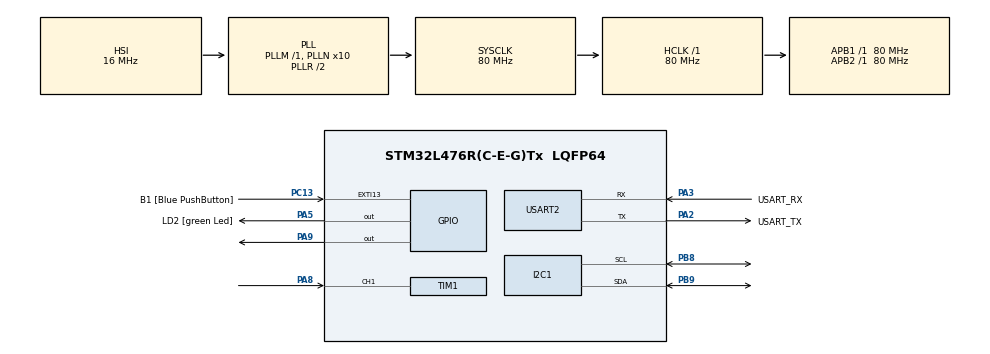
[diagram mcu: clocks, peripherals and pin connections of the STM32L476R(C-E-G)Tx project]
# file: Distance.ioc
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I2C1.Timing=0x10909CEC
Mcu.Family=STM32L4
Mcu.Name=STM32L476R(C-E-G)Tx
Mcu.Package=LQFP64
NVIC.PriorityGroup=NVIC_PRIORITYGROUP_4
NVIC.TIM1_CC_IRQn=true\:0\:0\:false\:false\:true\:true\:true\:true
PA13\ (JTMS-SWDIO).GPIO_Label=TMS
PA13\ (JTMS-SWDIO).Mode=Serial_Wire
PA13\ (JTMS-SWDIO).Signal=SYS_JTMS-SWDIO
PA14\ (JTCK-SWCLK).GPIO_Label=TCK
PA14\ (JTCK-SWCLK).Mode=Serial_Wire
PA14\ (JTCK-SWCLK).Signal=SYS_JTCK-SWCLK
PA2.GPIO_Label=USART_TX
PA2.GPIO_Mode=GPIO_MODE_AF_PP
PA2.GPIO_PuPd=GPIO_NOPULL
PA2.GPIO_Speed=GPIO_SPEED_FREQ_VERY_HIGH
PA2.Mode=Asynchronous
PA2.Signal=USART2_TX
PA3.GPIO_Label=USART_RX
PA3.GPIO_Mode=GPIO_MODE_AF_PP
PA3.GPIO_PuPd=GPIO_NOPULL
PA3.GPIO_Speed=GPIO_SPEED_FREQ_VERY_HIGH
PA3.Mode=Asynchronous
PA3.Signal=USART2_RX
PA5.GPIO_Label=LD2 [green Led]
PA5.GPIO_ModeDefaultOutputPP=GPIO_MODE_OUTPUT_PP
PA5.GPIO_PuPd=GPIO_NOPULL
PA5.GPIO_Speed=GPIO_SPEED_FREQ_LOW
PA5.Signal=GPIO_Output
PA8.Signal=S_TIM1_CH1
PA9.Signal=GPIO_Output
PB3\ (JTDO-TRACESWO).GPIO_Label=SWO
PB3\ (JTDO-TRACESWO).Signal=SYS_JTDO-SWO
PB8.GPIO_Pu=GPIO_PULLUP
PB8.Mode=I2C
PB8.Signal=I2C1_SCL
PB9.GPIO_Pu=GPIO_PULLUP
PB9.Mode=I2C
PB9.Signal=I2C1_SDA
PC13.GPIO_Label=B1 [Blue PushButton]
PC13.GPIO_ModeDefaultEXTI=GPIO_MODE_IT_FALLING
PC13.GPIO_PuPd=GPIO_NOPULL
PC13.Signal=GPXTI13
PC14-OSC32_IN\ (PC14).Mode=LSE-External-Oscillator
PC14-OSC32_IN\ (PC14).Signal=RCC_OSC32_IN
PC15-OSC32_OUT\ (PC15).Mode=LSE-External-Oscillator
PC15-OSC32_OUT\ (PC15).Signal=RCC_OSC32_OUT
PH0-OSC_IN\ (PH0).Signal=RCC_OSC_IN
PH1-OSC_OUT\ (PH1).Signal=RCC_OSC_OUT
ProjectManager.HeapSize=0x200
ProjectManager.StackSize=0x400
ProjectManager.TargetToolchain=STM32CubeIDE
RCC.ADCFreq_Value=64000000
RCC.AHBFreq_Value=80000000
RCC.APB1Freq_Value=80000000
RCC.APB1TimFreq_Value=80000000
RCC.APB2Freq_Value=80000000
RCC.APB2TimFreq_Value=80000000
RCC.CortexFreq_Value=80000000
RCC.HCLKFreq_Value=80000000
RCC.HSE_VALUE=8000000
RCC.HSI_VALUE=16000000
RCC.MSI_VALUE=4000000
RCC.PLLN=10
RCC.PLLSourceVirtual=RCC_PLLSOURCE_HSI
RCC.PREFETCH_ENABLE=1
RCC.SYSCLKFreq_VALUE=80000000
RCC.SYSCLKSource=RCC_SYSCLKSOURCE_PLLCLK
RCC.USBFreq_Value=64000000
RCC.VCOOutputFreq_Value=160000000
SH.S_TIM1_CH1.0=TIM1_CH1,Input_Capture1_from_TI1
TIM1.Channel-Input_Capture1_from_TI1=TIM_CHANNEL_1
TIM1.Prescaler=80-1
TIM2.Prescaler=80-1
USART2.VirtualMode-Asynchronous=VM_ASYNC
VP_TIM1_VS_ClockSourceINT.Mode=Internal
VP_TIM2_VS_ClockSourceINT.Mode=Internal
board=NUCLEO-L476RG

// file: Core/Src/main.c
/* USER CODE BEGIN Header */
/**
  ******************************************************************************
  * @file           : main.c
  * @brief          : Main program body
  ******************************************************************************
  * @attention
  *
  * Copyright (c) 2022 STMicroelectronics.
  * All rights reserved.
  *
  * This software is licensed under terms that can be found in the LICENSE file
  * in the root directory of this software component.
  * If no LICENSE file comes with this software, it is provided AS-IS.
  *
  ******************************************************************************
  */
/* USER CODE END Header */
#include "main.h"
#include "i2c.h"
#include "tim.h"
#include "usart.h"
#include "gpio.h"

/* USER CODE BEGIN Includes */
#include "lib_lcd.h"
/* USER CODE END Includes */

/* USER CODE BEGIN PTD */
static rgb_lcd data;
/* USER CODE END PTD */

void SystemClock_Config(void);

/* USER CODE BEGIN 0 */
void delay_us(uint32_t us){ // Fonction permettant d'avoir un timer qui compte en microseconde

	__HAL_TIM_SET_COUNTER(&htim2, 0);
	while (__HAL_TIM_GET_COUNTER(&htim2) < us);
}

uint32_t IC_Val1 = 0;
uint32_t IC_Val2 = 0;
uint32_t Difference = 0;
uint8_t Is_First_Captured = 0;  // is the first value captured ?
uint8_t Distance  = 0;

// Let's write the callback function

void HAL_TIM_IC_CaptureCallback(TIM_HandleTypeDef *htim)
{
	if (htim->Channel == HAL_TIM_ACTIVE_CHANNEL_1)  // if the interrupt source is channel1
	{
		if (Is_First_Captured==0) // if the first value is not captured
		{
			IC_Val1 = HAL_TIM_ReadCapturedValue(htim, TIM_CHANNEL_1); // read the first value
			Is_First_Captured = 1;  // set the first captured as true
			// Now change the polarity to falling edge
			__HAL_TIM_SET_CAPTUREPOLARITY(htim, TIM_CHANNEL_1, TIM_INPUTCHANNELPOLARITY_FALLING);
		}

		else if (Is_First_Captured==1)   // if the first is already captured
		{
			IC_Val2 = HAL_TIM_ReadCapturedValue(htim, TIM_CHANNEL_1);  // read second value
			__HAL_TIM_SET_COUNTER(htim, 0);  // reset the counter

			if (IC_Val2 > IC_Val1)
			{
				Difference = IC_Val2-IC_Val1;
			}

			else if (IC_Val1 > IC_Val2)
			{
				Difference = (0xffff - IC_Val1) + IC_Val2;
			}

			Distance = Difference * .034/2;
			Is_First_Captured = 0; // set it back to false

			// set polarity to rising edge
			__HAL_TIM_SET_CAPTUREPOLARITY(htim, TIM_CHANNEL_1, TIM_INPUTCHANNELPOLARITY_RISING);
			__HAL_TIM_DISABLE_IT(&htim1, TIM_IT_CC1);
		}
	}
}

void HCSR04_Read (void)
{
	HAL_GPIO_WritePin(GPIOA, GPIO_PIN_9, 1);  // pull the TRIG pin HIGH
	delay_us(15);  // wait for 10 us
	HAL_GPIO_WritePin(GPIOA, GPIO_PIN_9, 0);  // pull the TRIG pin low

	__HAL_TIM_ENABLE_IT(&htim1, TIM_IT_CC1);
}
/* USER CODE END 0 */

int main(void)
{

  /* MCU Configuration--------------------------------------------------------*/

  /* Reset of all peripherals, Initializes the Flash interface and the Systick. */
  HAL_Init();

  /* Configure the system clock */
  SystemClock_Config();

  /* Initialize all configured peripherals */
  MX_GPIO_Init();
  MX_USART2_UART_Init();
  MX_TIM1_Init();
  MX_I2C1_Init();
  MX_TIM2_Init();
  /* USER CODE BEGIN 2 */
  HAL_TIM_Base_Start(&htim2); // On démarre le timer
  HAL_TIM_Base_Start(&htim1);
  HAL_TIM_IC_Start_IT(&htim1,TIM_CHANNEL_1);
  clearlcd(); // Clear l'écran LCD
  lcd_init(&hi2c1, &data); // Initialisation de l'écran LCD
  lcd_position(&hi2c1,0,0); // Positionnement du texte
  lcd_print(&hi2c1,"Distance"); // Permet d'afficher du texte sur le LCD
  /* USER CODE END 2 */

  /* Infinite loop */
  /* USER CODE BEGIN WHILE */
  while (1)
  {
	  HCSR04_Read();
		  lcd_position(&hi2c1,8,0); // Positionnement du texte
		  lcd_write(&hi2c1,(Distance/10)+48);
		  lcd_write(&hi2c1,(Distance%10)+48);
		  HAL_Delay(15);
    /* USER CODE END WHILE */

  }
}

void SystemClock_Config(void)
{
  RCC_OscInitTypeDef RCC_OscInitStruct = {0};
  RCC_ClkInitTypeDef RCC_ClkInitStruct = {0};

  /** Configure the main internal regulator output voltage
  */
  if (HAL_PWREx_ControlVoltageScaling(PWR_REGULATOR_VOLTAGE_SCALE1) != HAL_OK)
  {
    Error_Handler();
  }

  /** Initializes the RCC Oscillators according to the specified parameters
  * in the RCC_OscInitTypeDef structure.
  */
  RCC_OscInitStruct.OscillatorType = RCC_OSCILLATORTYPE_HSI;
  RCC_OscInitStruct.HSIState = RCC_HSI_ON;
  RCC_OscInitStruct.HSICalibrationValue = RCC_HSICALIBRATION_DEFAULT;
  RCC_OscInitStruct.PLL.PLLState = RCC_PLL_ON;
  RCC_OscInitStruct.PLL.PLLSource = RCC_PLLSOURCE_HSI;
  RCC_OscInitStruct.PLL.PLLM = 1;
  RCC_OscInitStruct.PLL.PLLN = 10;
  RCC_OscInitStruct.PLL.PLLP = RCC_PLLP_DIV7;
  RCC_OscInitStruct.PLL.PLLQ = RCC_PLLQ_DIV2;
  RCC_OscInitStruct.PLL.PLLR = RCC_PLLR_DIV2;
  if (HAL_RCC_OscConfig(&RCC_OscInitStruct) != HAL_OK)
  {
    Error_Handler();
  }

  /** Initializes the CPU, AHB and APB buses clocks
  */
  RCC_ClkInitStruct.ClockType = RCC_CLOCKTYPE_HCLK|RCC_CLOCKTYPE_SYSCLK
                              |RCC_CLOCKTYPE_PCLK1|RCC_CLOCKTYPE_PCLK2;
  RCC_ClkInitStruct.SYSCLKSource = RCC_SYSCLKSOURCE_PLLCLK;
  RCC_ClkInitStruct.AHBCLKDivider = RCC_SYSCLK_DIV1;
  RCC_ClkInitStruct.APB1CLKDivider = RCC_HCLK_DIV1;
  RCC_ClkInitStruct.APB2CLKDivider = RCC_HCLK_DIV1;

  if (HAL_RCC_ClockConfig(&RCC_ClkInitStruct, FLASH_LATENCY_4) != HAL_OK)
  {
    Error_Handler();
  }
}

void Error_Handler(void)
{
  __disable_irq();
  while (1)
  {
  }
}
